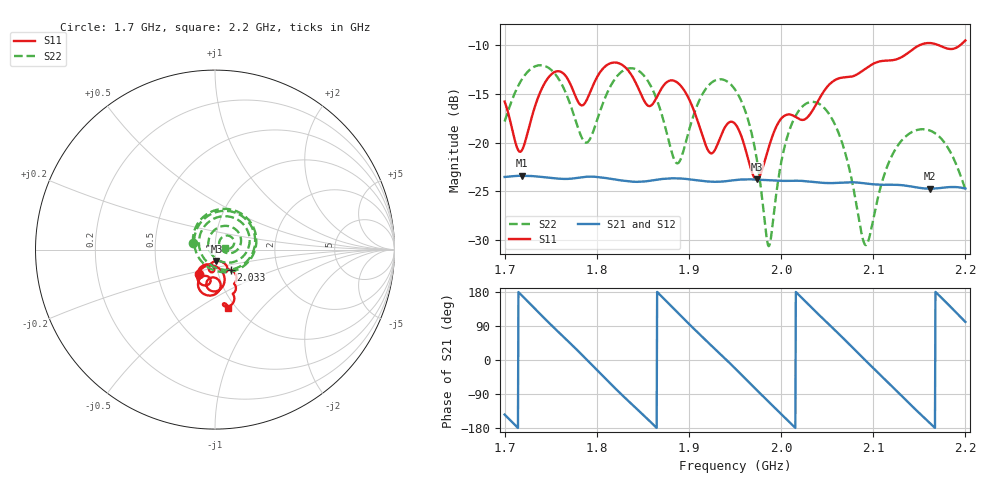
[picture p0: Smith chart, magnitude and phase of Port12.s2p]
# Hz S RI R 50
! CMT, CMT808U, 21440046, 21.4.3/4
! Date: 11/17/2025 2:52:11 PM
! Data: Format (Calibration Info)
! Freq	S11:Re/Im(F2)	S41:Re/Im(F2)	S14:Re/Im(F2)	S44:Re/Im(F2)
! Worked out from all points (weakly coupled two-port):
!   1001 points, 1.7 GHz to 2.2 GHz, reference 50 ohm
!   highest |S21| = -23.41 dB at 1.719 GHz (marker M1); lowest = -24.7 dB at 2.162 GHz (marker M2)
!   lowest |S11| = -23.8 dB at 1.974 GHz (marker M3), VSWR 1.14, Z = 50.4 - j6.49 ohm
!   |S11| at or under -10 dB: start of sweep to 2.15 GHz; 2.172 GHz to 2.194 GHz (22.41 MHz wide, 1.03 % of centre)
!   |S22| runs from -30.7 to -12.0 dB; largest |S21 - S12| = 0.00016
!   S11 on the Smith chart (normalised r, x): 1.7 GHz: 0.81, -0.23; 2.033 GHz: 1.16, -0.27; 2.2 GHz: 0.92, -0.68
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1.7e9  -0.0887 -0.1364  -0.0539 -0.0391  -0.0539 -0.039  -0.1226 0.0379
1.719e9  -0.00145 -0.0917  -0.0664 0.0124  -0.0664 0.0125  -0.02 0.2116
1.752e9  0.0212 -0.2262  0.00125 0.0657  0.00134 0.0657  0.2302 0.0378
1.769e9  -0.0462 -0.2052  0.0426 0.0492  0.0427 0.0492  0.1254 -0.1118
1.7835e9  -0.0105 -0.1551  0.0642 0.0169  0.0642 0.0168  -0.0338 -0.1011
1.802e9  0.0259 -0.2227  0.0568 -0.0345  0.0568 -0.0346  -0.1127 0.0794
1.823e9  -0.0548 -0.251  0.00899 -0.0636  0.00891 -0.0637  0.0527 0.2159
1.846e9  -0.0865 -0.1651  -0.0444 -0.0445  -0.0445 -0.0444  0.2223 0.07
1.867e9  -0.0247 -0.1765  -0.0645 0.00442  -0.0645 0.00452  0.1187 -0.1034
1.8875e9  -0.0869 -0.1841  -0.0383 0.0531  -0.0383 0.0532  -0.0662 -0.0415
1.923e9  -0.0314 -0.0827  0.0474 0.0414  0.0475 0.0413  0.0799 0.184
1.95e9  -0.0289 -0.1216  0.0596 -0.0238  0.0596 -0.0239  0.1871 0.0129
1.9735e9  0.00822 -0.0641  0.0123 -0.0634  0.0122 -0.0634  0.0446 -0.0696
1.987e9  0.0548 -0.0787  -0.0234 -0.0595  -0.0235 -0.0595  -0.0273 -0.0108
2.007e9  0.064 -0.1239  -0.0593 -0.0229  -0.0593 -0.0228  -0.00416 0.1081
2.0325e9  0.0865 -0.113  -0.048 0.0408  -0.0479 0.0409  0.124 0.1042
2.0335e9  0.0892 -0.1139  -0.0462 0.0427  -0.0461 0.0428  0.1273 0.1004
2.063e9  0.1131 -0.1821  0.0232 0.0576  0.0233 0.0576  0.1095 -0.0124
2.0915e9  0.1162 -0.2099  0.0616 -0.00104  0.0617 -0.00113  0.0276 0.0109
2.117e9  0.0992 -0.2452  0.0293 -0.0531  0.0292 -0.0532  0.0395 0.0686
2.162e9  0.0678 -0.3181  -0.0566 -0.0123  -0.0566 -0.0123  0.1067 0.0434
2.2e9  0.0714 -0.3278  -0.0105 0.057  -0.0104 0.057  0.0568 0.00855
